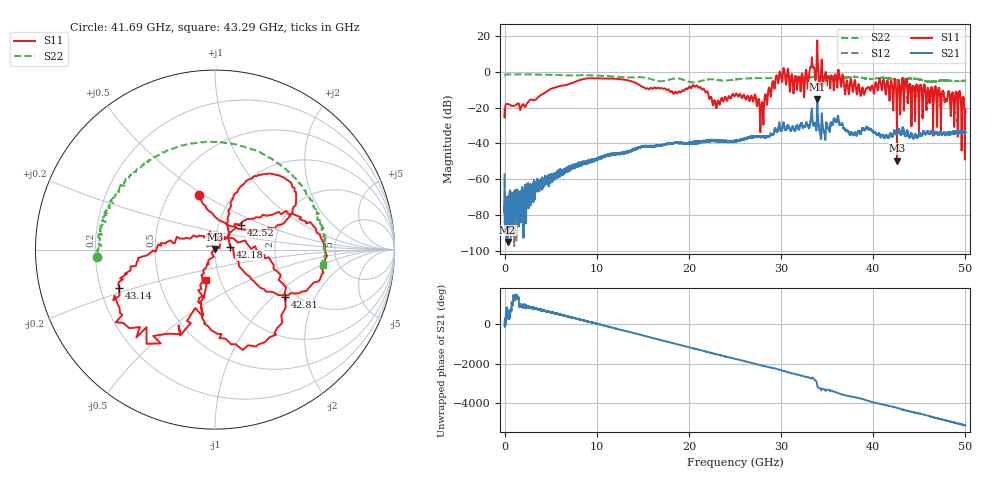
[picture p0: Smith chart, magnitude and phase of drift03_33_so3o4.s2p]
!Created with skrf (http://scikit-rf.org).
# Hz S RI R 50.0
!freq ReS11 ImS11 ReS21 ImS21 ReS12 ImS12 ReS22 ImS22
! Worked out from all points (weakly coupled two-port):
!   10001 points, 300 kHz to 50 GHz, reference 50 ohm
!   highest |S21| = -15.24 dB at 33.92 GHz (marker M1); lowest = -95.1 dB at 320.3 MHz (marker M2)
!   lowest |S11| = -49.6 dB at 42.58 GHz (marker M3), VSWR 1.01, Z = 49.8 + j0.275 ohm
!   |S11| at or under -10 dB: start of sweep to 4.848 GHz; 21.69 GHz to 28.62 GHz (6.932 GHz wide, 27.6 % of centre); 47.2 GHz to end of sweep (the widest 3 of 40)
!   |S22| runs from -5.9 to -1.3 dB; largest |S21 - S12| = 0.017
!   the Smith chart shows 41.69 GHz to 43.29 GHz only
!   S11 on the Smith chart (normalised r, x): 41.69 GHz: 0.71, +0.48; 42.18 GHz: 1.18, +0.04; 42.52 GHz: 1.28, +0.37; 42.81 GHz: 1.76, -1.20; 43.14 GHz: 0.28, -0.18; 43.29 GHz: 0.86, -0.30
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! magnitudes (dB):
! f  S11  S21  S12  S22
! 300 kHz  -21.3  -57.4  -60.3  -2.1
! 320.3 MHz  -17.9  -95.1  -83.3  -1.4
! 8.335 GHz  -4.3  -52.0  -50.8  -1.9
! 16.67 GHz  -8.8  -41.3  -41.4  -5.2
! 21.01 GHz  -8.8  -39.1  -39.3  -5.5
! 22.81 GHz  -16.1  -38.4  -38.5  -4.2
! 25 GHz  -13.4  -38.4  -39.3  -4.3
! 27.92 GHz  -17.1  -36.1  -36.4  -3.5
! 29.69 GHz  -6.4  -31.9  -31.7  -3.1
! 32.32 GHz  -1.5  -30.5  -30.6  -3.3
! 33.34 GHz  7.6  -20.7  -21.1  -2.9
! 33.92 GHz  17.6  -15.2  -15.7  -2.6
! 38.81 GHz  -8.9  -31.7  -31.9  -3.4
! 41.67 GHz  -9.0  -36.8  -36.7  -3.7
! 41.69 GHz  -10.0  -36.7  -36.6  -3.6
! 42.18 GHz  -21.6  -35.1  -34.9  -4.2
! 42.52 GHz  -14.0  -35.1  -35.0  -4.4
! 42.58 GHz  -49.6  -34.9  -34.9  -4.5
! 42.81 GHz  -6.5  -32.5  -32.8  -4.5
! 43.14 GHz  -4.8  -33.0  -32.9  -4.2
! 43.29 GHz  -15.0  -32.7  -32.8  -4.4
! 50 GHz  -20.7  -33.7  -34.6  -5.0
